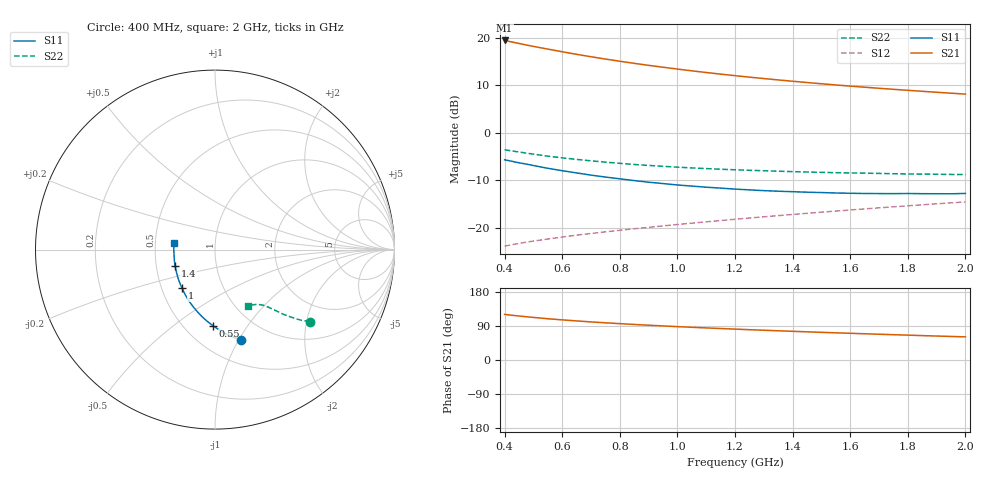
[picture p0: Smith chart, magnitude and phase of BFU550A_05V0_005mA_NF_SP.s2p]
! Filename:  P:\Prog\Test\Noise\ATS_data\Testdata_Net\06 Compressed Noise after Statistics\BFU550A_APG2013_35_C05_05p0V_005mA_NF_CM01_D.sf
! Date/Time: Tue 16/Apr/2013 15:11:26
! BFU550A_APG2013_35_C05_05p0V_1to35mA_NF_CM01_Bias4_R.sf
! Noise Parameter Data File
! BFU550A_APG2013_35_C05_05p0V_1to35mA_SP_CM01
! Date/time: Mon Apr 15 16:43:38 2013
! VAR V_out= 5.001000
! VAR I_out= 4.995000
! VAR V_in= 0.818300
! VAR I_in= 0.052705
! Device data file deembeded for feedlines and parallel
! Original file: \06 Compressed Noise after Statistics\BFU550A_APG2013_35_C05_05p0V_005mA_NF_CM01_R.sf
! Feed-files: PR017V01_150413_Feed1.s2p, PR017V01_150413_Feed2.s2p
! Parallel-file: PR017V01_150413_Par.s2p
# MHz S MA R 50
!  Freq-MHz  S11-mag  S11-arg  S21-mag  S21-arg  S12-mag  S12-arg  S22-mag  S22-arg
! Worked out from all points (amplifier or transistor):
!   37 points, 400 MHz to 2 GHz, reference 50 ohm
!   highest |S21| = 19.5 dB at 400 MHz (marker M1)
!   |S21| within 3 dB of that: start of sweep to 657.8 MHz
!   unconditionally stable (mu >= 1): 1.639 GHz to end of sweep
!   at 500 MHz: K = 0.60, MSG = 20.5 dB, |S12| = -22.8 dB
!   at 1.1 GHz: K = 0.92, MSG = 15.7 dB, |S12| = -18.7 dB
!   at 2 GHz: K = 1.01, MAG = 10.7 dB, |S12| = -14.5 dB
!   lowest NFmin = 0.60 dB at 420 MHz
!   S11 on the Smith chart (normalised r, x): 400 MHz: 0.74, -1.02; 550 MHz: 0.68, -0.70; 1 GHz: 0.64, -0.30; 1.4 GHz: 0.63, -0.12; 2 GHz: 0.63, +0.05
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400  0.5209 -74.1  9.402 120.3  0.06417 60.2  0.664 -37.1
420  0.5061 -76.7  9.13 118.5  0.06603 59.7  0.6494 -37.9
440  0.4916 -79.2  8.872 116.9  0.06774 59.3  0.6356 -38.5
480  0.4662 -83.9  8.371 113.8  0.07103 58.8  0.6096 -39.8
500  0.4531 -86.2  8.143 112.4  0.07264 58.5  0.5979 -40.3
550  0.424 -91.7  7.627 108.9  0.07628 58.1  0.5688 -41.5
600  0.3999 -96.6  7.15 105.9  0.08009 58.0  0.546 -42.5
650  0.379 -101.4  6.717 103.1  0.08375 57.9  0.5262 -43.3
700  0.3593 -105.9  6.337 100.5  0.08725 57.9  0.5079 -44.0
750  0.3429 -110.3  5.988 98.2  0.09077 58.1  0.4919 -44.6
800  0.3283 -114.5  5.681 95.9  0.09432 58.2  0.4783 -45.2
850  0.3147 -118.8  5.399 93.8  0.09783 58.4  0.4651 -45.8
950  0.2927 -126.5  4.913 89.9  0.1049 58.9  0.4446 -46.8
1000  0.283 -130.3  4.7 88.0  0.1085 59.1  0.4359 -47.2
1100  0.2681 -137.7  4.323 84.7  0.1158 59.5  0.4209 -48.2
1200  0.256 -144.7  4.005 81.5  0.1232 59.9  0.4089 -49.2
1300  0.2466 -151.1  3.733 78.5  0.1308 60.3  0.3997 -50.3
1400  0.2404 -157.7  3.498 75.7  0.1384 60.6  0.3909 -51.4
1500  0.2354 -163.9  3.29 73.0  0.1463 60.7  0.3839 -52.7
1600  0.2314 -169.5  3.109 70.5  0.1543 60.9  0.379 -53.9
1750  0.2293 -177.7  2.876 66.8  0.1666 61.0  0.3718 -55.9
2000  0.2304 170.1  2.56 61.0  0.1876 60.7  0.3642 -59.7
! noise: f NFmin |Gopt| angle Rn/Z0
400  0.6445  0.1719  23.4  0.1175
460  0.6437  0.1639  32.66  0.1061
600  0.7035  0.1807  36.58  0.1184
800  0.6916  0.1584  59.86  0.1002
1000  0.7112  0.16  80.15  0.0936
1200  0.7565  0.1541  95.79  0.0942
1400  0.7969  0.1677  118.5  0.0806
1600  0.8212  0.1693  133.1  0.0767
1800  0.8318  0.1935  151.8  0.0662
2000  0.8575  0.192  167.3  0.0683
